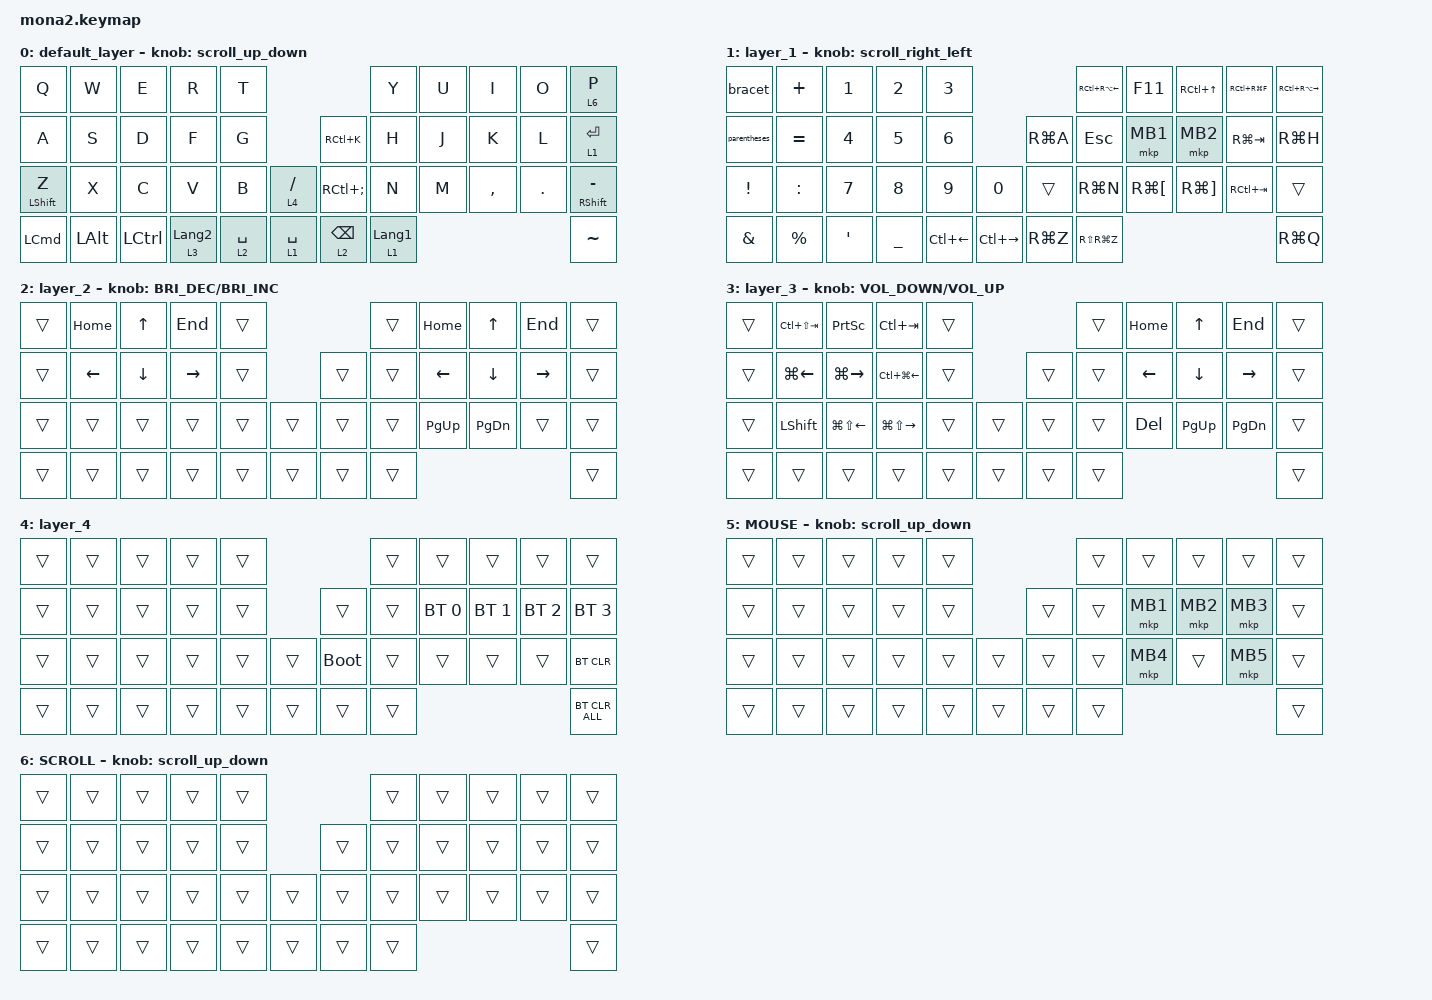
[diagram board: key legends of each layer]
#include <input/processors.dtsi>
#include <dt-bindings/zmk/input_transform.h>
#include <zephyr/dt-bindings/input/input-event-codes.h>
#include <behaviors.dtsi>
#include <dt-bindings/zmk/bt.h>
#include <dt-bindings/zmk/keys.h>
#include <dt-bindings/zmk/pointing.h>

#define ZMK_POINTING_DEFAULT_SCRL_VAL 100
#define MOUSE 5
#define SCROLL 6

&mt {
    flavor = "balanced";
    quick-tap-ms = <0>;
};

&lt {
    quick-tap-ms = <300>;
    flavor = "balanced";
};

/ {
    combos {
        compatible = "zmk,combos";

        copy {
            bindings = <&kp RG(C)>;
            key-positions = <16 17>;
        };

        paste {
            bindings = <&kp RG(V)>;
            key-positions = <17 18>;
        };

        cut {
            bindings = <&kp RG(X)>;
            key-positions = <6 7>;
        };

        left {
            bindings = <&kp LEFT_ARROW>;
            key-positions = <18 19>;
        };

        right {
            bindings = <&kp RIGHT_ARROW>;
            key-positions = <19 20>;
        };

        up {
            bindings = <&kp UP_ARROW>;
            key-positions = <7 8>;
        };

        down {
            bindings = <&kp DOWN>;
            key-positions = <30 31>;
        };

        page_up {
            bindings = <&kp PAGE_UP>;
            key-positions = <28 29>;
        };

        page_down {
            bindings = <&kp PAGE_DOWN>;
            key-positions = <29 30>;
        };

        esc {
            bindings = <&kp ESCAPE>;
            key-positions = <10 11>;
        };
    };

    macros {
        to_layer_0: to_layer_0 {
            compatible = "zmk,behavior-macro-one-param";
            #binding-cells = <1>;
            bindings = <&to 0 &macro_param_1to1 &kp MACRO_PLACEHOLDER>;
            label = "TO_LAYER_0";
        };

        bracet: bracet {
            compatible = "zmk,behavior-macro";
            #binding-cells = <0>;
            bindings = <&kp LANGUAGE_1 &kp LEFT_BRACKET &kp RIGHT_BRACKET &kp ENTER &kp LEFT_ARROW>;
            label = "BRACET";
        };

        tilde: tilde {
            compatible = "zmk,behavior-macro";
            #binding-cells = <0>;
            bindings = <&kp LANGUAGE_1 &kp RS(TILDE)>;
            label = "TILDE";
        };

        parentheses: parentheses {
            compatible = "zmk,behavior-macro";
            #binding-cells = <0>;
            bindings = <&kp LANGUAGE_1 &kp LEFT_PARENTHESIS &kp RIGHT_PARENTHESIS &kp ENTER &kp LEFT_ARROW>;
            label = "PARENTHESES";
        };

        new_bracket: new_bracket {
            compatible = "zmk,behavior-macro";
            #binding-cells = <0>;
            bindings = <&kp LANGUAGE_1 &kp LS(LEFT_BRACKET) &kp RS(RIGHT_BRACKET) &kp ENTER &kp LEFT_ARROW>;
            label = "NEW_BRACKET";
        };

        split_right: split_right {
            compatible = "zmk,behavior-macro";
            #binding-cells = <0>;
            bindings = <&none>;
            label = "SPLIT_RIGHT";
        };
    };

    behaviors {
        lt_to_layer_0: lt_to_layer_0 {
            compatible = "zmk,behavior-hold-tap";
            label = "LAYER_TAP_TO_0";
            bindings = <&mo>, <&to_layer_0>;

            #binding-cells = <2>;
            tapping-term-ms = <200>;
        };

        scroll_up_down: mouse_wheel_up_down {
            compatible = "zmk,behavior-sensor-rotate";
            #sensor-binding-cells = <0>;
            bindings = <&msc SCRL_DOWN>, <&msc SCRL_UP>;

            tap-ms = <20>;
        };

        scroll_right_left: mouse_wheel_right_left {
            compatible = "zmk,behavior-sensor-rotate";
            #sensor-binding-cells = <0>;
            bindings = <&msc SCRL_LEFT>, <&msc SCRL_RIGHT>;

            tap-ms = <20>;
        };
    };

    keymap {
        compatible = "zmk,keymap";

        default_layer {
            bindings = <
&kp Q             &kp W         &kp E             &kp R                        &kp T                                                     &kp Y             &kp U  &kp I      &kp O       &lt 6 P
&kp A             &kp S         &kp D             &kp F                        &kp G                                  &kp RC(K)          &kp H             &kp J  &kp K      &kp L       &lt 1 ENTER
&mt LEFT_SHIFT Z  &kp X         &kp C             &kp V                        &kp B        &lt 4 SLASH               &kp RC(SEMICOLON)  &kp N             &kp M  &kp COMMA  &kp PERIOD  &mt RSHIFT MINUS
&kp LEFT_COMMAND  &kp LEFT_ALT  &kp LEFT_CONTROL  &lt_to_layer_0 3 LANGUAGE_2  &lt 2 SPACE  &lt_to_layer_0 1 SPACE    &lt 2 BACKSPACE    &lt 1 LANGUAGE_1                                &kp TILDE
            >;

            sensor-bindings = <&scroll_up_down>;
        };

        layer_1 {
            bindings = <
&bracet       &kp PLUS   &kp NUMBER_1  &kp NUMBER_2    &kp NUMBER_3                                          &kp RC(RA(LEFT_ARROW))  &kp F11               &kp RC(UP_ARROW)       &kp RC(RG(F))  &kp RC(RA(RIGHT_ARROW))
&parentheses  &kp EQUAL  &kp NUMBER_4  &kp N5          &kp NUMBER_6                               &kp RG(A)  &kp ESCAPE              &mkp MB1              &mkp MB2               &kp RG(TAB)    &kp RG(H)
&kp EXCL      &kp COLON  &kp N7        &kp N8          &kp N9              &kp N0                 &trans     &kp RG(N)               &kp RG(LEFT_BRACKET)  &kp RG(RIGHT_BRACKET)  &kp RC(TAB)    &trans
&kp AMPS      &kp PRCNT  &kp APOS      &kp UNDERSCORE  &kp LC(LEFT_ARROW)  &kp LC(RIGHT_ARROW)    &kp RG(Z)  &kp RS(RG(Z))                                                                       &kp RG(Q)
            >;

            sensor-bindings = <&scroll_right_left>;
        };

        layer_2 {
            bindings = <
&trans  &kp HOME        &kp UP_ARROW    &kp END          &trans                    &trans  &kp HOME        &kp UP_ARROW   &kp END    &trans
&trans  &kp LEFT_ARROW  &kp DOWN_ARROW  &kp RIGHT_ARROW  &trans            &trans  &trans  &kp LEFT_ARROW  &kp DOWN       &kp RIGHT  &trans
&trans  &trans          &trans          &trans           &trans  &trans    &trans  &trans  &kp PAGE_UP     &kp PAGE_DOWN  &trans     &trans
&trans  &trans          &trans          &trans           &trans  &trans    &trans  &trans                                            &trans
            >;

            sensor-bindings = <&inc_dec_kp C_BRIGHTNESS_DEC C_BRIGHTNESS_INC>;
        };

        layer_3 {
            bindings = <
&trans  &kp LC(LS(TAB))     &kp PRINTSCREEN         &kp LC(TAB)              &trans                    &trans  &kp HOME        &kp UP_ARROW    &kp END          &trans
&trans  &kp LG(LEFT_ARROW)  &kp LG(RIGHT_ARROW)     &kp LC(LG(LEFT_ARROW))   &trans            &trans  &trans  &kp LEFT_ARROW  &kp DOWN_ARROW  &kp RIGHT_ARROW  &trans
&trans  &kp LEFT_SHIFT      &kp LG(LS(LEFT_ARROW))  &kp LG(LS(RIGHT_ARROW))  &trans  &trans    &trans  &trans  &kp DELETE      &kp PAGE_UP     &kp PAGE_DOWN    &trans
&trans  &trans              &trans                  &trans                   &trans  &trans    &trans  &trans                                                   &trans
            >;

            sensor-bindings = <&inc_dec_kp C_VOLUME_DOWN C_VOLUME_UP>;
        };

        layer_4 {
            bindings = <
&trans  &trans  &trans  &trans  &trans                         &trans  &trans        &trans        &trans        &trans
&trans  &trans  &trans  &trans  &trans            &trans       &trans  &bt BT_SEL 0  &bt BT_SEL 1  &bt BT_SEL 2  &bt BT_SEL 3
&trans  &trans  &trans  &trans  &trans  &trans    &bootloader  &trans  &trans        &trans        &trans        &bt BT_CLR
&trans  &trans  &trans  &trans  &trans  &trans    &trans       &trans                                            &bt BT_CLR_ALL
            >;
        };

        MOUSE {
            bindings = <
&trans  &trans  &trans  &trans  &trans                    &trans  &trans    &trans    &trans    &trans
&trans  &trans  &trans  &trans  &trans            &trans  &trans  &mkp MB1  &mkp MB2  &mkp MB3  &trans
&trans  &trans  &trans  &trans  &trans  &trans    &trans  &trans  &mkp MB4  &trans    &mkp MB5  &trans
&trans  &trans  &trans  &trans  &trans  &trans    &trans  &trans                                &trans
            >;

            sensor-bindings = <&scroll_up_down>;
        };

        SCROLL {
            bindings = <
&trans  &trans  &trans  &trans  &trans                    &trans  &trans  &trans  &trans  &trans
&trans  &trans  &trans  &trans  &trans            &trans  &trans  &trans  &trans  &trans  &trans
&trans  &trans  &trans  &trans  &trans  &trans    &trans  &trans  &trans  &trans  &trans  &trans
&trans  &trans  &trans  &trans  &trans  &trans    &trans  &trans                          &trans
            >;

            sensor-bindings = <&scroll_up_down>;
        };
    };
};
